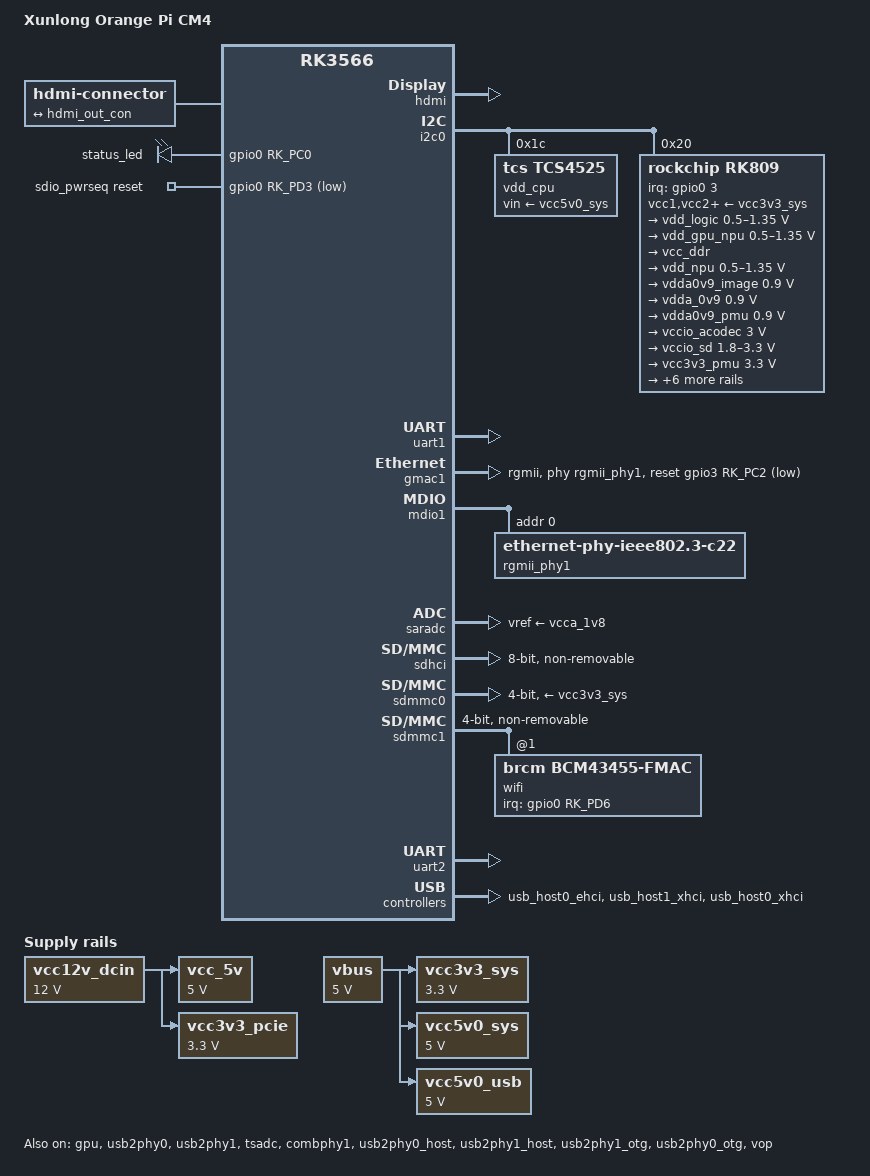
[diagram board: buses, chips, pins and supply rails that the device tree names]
// SPDX-License-Identifier: (GPL-2.0+ OR MIT)
/*
 * Copyright (c) 2022 Radxa Limited
 * Copyright (c) 2022 Amarula Solutions(India)
 */

/dts-v1/;
#include <dt-bindings/gpio/gpio.h>
#include <dt-bindings/leds/common.h>
#include <dt-bindings/soc/rockchip,vop2.h>
#include "rk3566.dtsi"

/ {
	model = "Xunlong Orange Pi CM4";
	compatible = "xunlong,orangepi-cm4", "rockchip,rk3566";

	aliases {
		mmc0 = &sdhci;
		mmc1 = &sdmmc0;
		mmc2 = &sdmmc1;
		mmc3 = &sdmmc2;
	};

	chosen: chosen {
		stdout-path = "serial2:1500000n8";
	};

	hdmi-con {
		compatible = "hdmi-connector";
		type = "a";

		port {
			hdmi_con_in: endpoint {
				remote-endpoint = <&hdmi_out_con>;
			};
		};
	};

	leds {
		compatible = "gpio-leds";
		pinctrl-names = "default";
		pinctrl-0 =<&leds_gpio>;

		led@1 {
			gpios = <&gpio0 RK_PC0 GPIO_ACTIVE_HIGH>;
			label = "status_led";
			linux,default-trigger = "heartbeat";
		};
	};

	/* labeled +12v in schematic */
	vcc12v_dcin: vcc12v-dcin-regulator {
		compatible = "regulator-fixed";
		regulator-name = "vcc12v_dcin";
		regulator-always-on;
		regulator-boot-on;
		regulator-min-microvolt = <12000000>;
		regulator-max-microvolt = <12000000>;
	};

	/* labeled +5v in schematic */
	vcc_5v: vcc-5v-regulator {
		compatible = "regulator-fixed";
		regulator-name = "vcc_5v";
		regulator-always-on;
		regulator-boot-on;
		regulator-min-microvolt = <5000000>;
		regulator-max-microvolt = <5000000>;
		vin-supply = <&vcc12v_dcin>;
	};

	vbus: vbus {
		compatible = "regulator-fixed";
		regulator-name = "vbus";
		regulator-always-on;
		regulator-boot-on;
		regulator-min-microvolt = <5000000>;
		regulator-max-microvolt = <5000000>;
	};

	/* labeled +3.3v For PCIe only in schematic */
	vcc3v3_pcie: vcc3v3-pcie-regulator {
		compatible = "regulator-fixed";
		regulator-name = "vcc3v3_pcie";
		regulator-always-on;
		regulator-boot-on;
		regulator-min-microvolt = <3300000>;
		regulator-max-microvolt = <3300000>;
		vin-supply = <&vcc12v_dcin>;
	};

	hdmi_sound: hdmi-sound {
		compatible = "simple-audio-card";
		simple-audio-card,format = "i2s";
		simple-audio-card,mclk-fs = <128>;
		simple-audio-card,name = "rockchip,hdmi";
		status = "disabled";

		simple-audio-card,cpu {
				sound-dai = <&i2s0_8ch>;
		};
		simple-audio-card,codec {
				sound-dai = <&hdmi>;
		};
	};

	vcc3v3_sys: vcc3v3-sys {
		compatible = "regulator-fixed";
		regulator-name = "vcc3v3_sys";
		regulator-always-on;
		regulator-boot-on;
		regulator-min-microvolt = <3300000>;
		regulator-max-microvolt = <3300000>;
		vin-supply = <&vbus>;
	};

	vcc5v0_sys: vcc5v0-sys {
		compatible = "regulator-fixed";
		regulator-name = "vcc5v0_sys";
		regulator-always-on;
		regulator-boot-on;
		regulator-min-microvolt = <5000000>;
		regulator-max-microvolt = <5000000>;
		vin-supply = <&vbus>;
	};

	vcc5v0_usb: vcc5v0-usb {
		compatible = "regulator-fixed";
		regulator-name = "vcc5v0_usb";
		regulator-always-on;
		regulator-boot-on;
		regulator-min-microvolt = <5000000>;
		regulator-max-microvolt = <5000000>;
		vin-supply = <&vbus>;
	};

	test-power {
		status = "okay";
	};

	sdio_pwrseq: sdio-pwrseq {
		compatible = "mmc-pwrseq-simple";
		clocks = <&rk809 1>;
		clock-names = "ext_clock";
		pinctrl-names = "default";
		pinctrl-0 = <&wifi_reg_on_h>;
		reset-gpios = <&gpio0 RK_PD3 GPIO_ACTIVE_LOW>;
	};
};

&cpu0 {
	cpu-supply = <&vdd_cpu>;
};

&cpu1 {
	cpu-supply = <&vdd_cpu>;
};

&cpu2 {
	cpu-supply = <&vdd_cpu>;
};

&cpu3 {
	cpu-supply = <&vdd_cpu>;
};

&gpu {
	mali-supply = <&vdd_gpu_npu>;
	status = "okay";
};

&hdmi {
	status = "okay";
	rockchip,phy-table =
		<92812500  0x8009 0x0000 0x0270>,
		<165000000 0x800b 0x0000 0x026d>,
		<185625000 0x800b 0x0000 0x01ed>,
		<297000000 0x800b 0x0000 0x01ad>,
		<594000000 0x8029 0x0000 0x0088>,
		<000000000 0x0000 0x0000 0x0000>;
};

&hdmi_sound {
	status = "okay";
};

&i2c0 {
	status = "okay";

	vdd_cpu: regulator@1c {
		compatible = "tcs,tcs4525";
		reg = <0x1c>;
		fcs,suspend-voltage-selector = <1>;
		regulator-name = "vdd_cpu";
		regulator-always-on;
		regulator-boot-on;
		regulator-min-microvolt = <712500>;
		regulator-max-microvolt = <1390000>;
		regulator-ramp-delay = <2300>;
		vin-supply = <&vcc5v0_sys>;

		regulator-state-mem {
			regulator-off-in-suspend;
		};
	};

	rk809: pmic@20 {
		compatible = "rockchip,rk809";
		reg = <0x20>;
		interrupt-parent = <&gpio0>;
		interrupts = <3 IRQ_TYPE_LEVEL_LOW>;

		pinctrl-names = "default", "pmic-sleep",
				"pmic-power-off", "pmic-reset";
		pinctrl-0 = <&pmic_int>;
		pinctrl-1 = <&soc_slppin_slp>, <&rk817_slppin_slp>;
		pinctrl-2 = <&soc_slppin_gpio>, <&rk817_slppin_pwrdn>;
		pinctrl-3 = <&soc_slppin_gpio>, <&rk817_slppin_rst>;

		rockchip,system-power-controller;
		wakeup-source;
		#clock-cells = <1>;
		clock-output-names = "rk808-clkout1", "rk808-clkout2";
		//fb-inner-reg-idxs = <2>;
		/* 1: rst regs (default in codes), 0: rst the pmic */
		pmic-reset-func = <0>;
		/* not save the PMIC_POWER_EN register in uboot */
		not-save-power-en = <1>;

		vcc1-supply = <&vcc3v3_sys>;
		vcc2-supply = <&vcc3v3_sys>;
		vcc3-supply = <&vcc3v3_sys>;
		vcc4-supply = <&vcc3v3_sys>;
		vcc5-supply = <&vcc3v3_sys>;
		vcc6-supply = <&vcc3v3_sys>;
		vcc7-supply = <&vcc3v3_sys>;
		vcc8-supply = <&vcc3v3_sys>;
		vcc9-supply = <&vcc3v3_sys>;

		pwrkey {
			status = "okay";
		};

		pinctrl_rk8xx: pinctrl_rk8xx {
			gpio-controller;
			#gpio-cells = <2>;

			rk817_slppin_null: rk817_slppin_null {
				pins = "gpio_slp";
				function = "pin_fun0";
			};

			rk817_slppin_slp: rk817_slppin_slp {
				pins = "gpio_slp";
				function = "pin_fun1";
			};

			rk817_slppin_pwrdn: rk817_slppin_pwrdn {
				pins = "gpio_slp";
				function = "pin_fun2";
			};

			rk817_slppin_rst: rk817_slppin_rst {
				pins = "gpio_slp";
				function = "pin_fun3";
			};
		};

		regulators {
			vdd_logic: DCDC_REG1 {
				regulator-name = "vdd_logic";
				regulator-always-on;
				regulator-boot-on;
				regulator-initial-mode = <0x2>;
				regulator-min-microvolt = <500000>;
				regulator-max-microvolt = <1350000>;
				regulator-init-microvolt = <900000>;
				regulator-ramp-delay = <6001>;
				regulator-state-mem {
					regulator-off-in-suspend;
				};
			};

			vdd_gpu_npu: DCDC_REG2 {
				regulator-name = "vdd_gpu_npu";
				regulator-always-on;
				regulator-boot-on;
				regulator-initial-mode = <0x2>;
				regulator-min-microvolt = <500000>;
				regulator-max-microvolt = <1350000>;
				regulator-init-microvolt = <900000>;
				regulator-ramp-delay = <6001>;
				regulator-state-mem {
					regulator-off-in-suspend;
				};
			};

			vcc_ddr: DCDC_REG3 {
				regulator-name = "vcc_ddr";
				regulator-always-on;
				regulator-boot-on;
				regulator-initial-mode = <0x2>;
				regulator-state-mem {
					regulator-on-in-suspend;
				};
			};

			vdd_npu: DCDC_REG4 {
				regulator-name = "vdd_npu";
				regulator-always-on;
				regulator-boot-on;
				regulator-initial-mode = <0x2>;
				regulator-min-microvolt = <500000>;
				regulator-max-microvolt = <1350000>;
				regulator-init-microvolt = <900000>;
				regulator-state-mem {
					regulator-off-in-suspend;
				};
			};

			vdda0v9_image: LDO_REG1 {
				regulator-name = "vdda0v9_image";
				regulator-always-on;
				regulator-boot-on;
				regulator-min-microvolt = <900000>;
				regulator-max-microvolt = <900000>;
				regulator-state-mem {
					regulator-off-in-suspend;
				};
			};

			vdda_0v9: LDO_REG2 {
				regulator-name = "vdda_0v9";
				regulator-always-on;
				regulator-boot-on;
				regulator-min-microvolt = <900000>;
				regulator-max-microvolt = <900000>;
				regulator-state-mem {
					regulator-off-in-suspend;
				};
			};

			vdda0v9_pmu: LDO_REG3 {
				regulator-name = "vdda0v9_pmu";
				regulator-always-on;
				regulator-boot-on;
				regulator-min-microvolt = <900000>;
				regulator-max-microvolt = <900000>;
				regulator-state-mem {
					regulator-on-in-suspend;
					regulator-suspend-microvolt = <900000>;
				};
			};

			vccio_acodec: LDO_REG4 {
				regulator-name = "vccio_acodec";
				regulator-always-on;
				regulator-boot-on;
				regulator-min-microvolt = <3000000>;
				regulator-max-microvolt = <3000000>;
				regulator-state-mem {
					regulator-off-in-suspend;
				};
			};

			vccio_sd: LDO_REG5 {
				regulator-name = "vccio_sd";
				regulator-always-on;
				regulator-boot-on;
				regulator-min-microvolt = <1800000>;
				regulator-max-microvolt = <3300000>;
				regulator-state-mem {
					regulator-off-in-suspend;
				};
			};

			vcc3v3_pmu: LDO_REG6 {
				regulator-name = "vcc3v3_pmu";
				regulator-always-on;
				regulator-boot-on;
				regulator-min-microvolt = <3300000>;
				regulator-max-microvolt = <3300000>;
				regulator-state-mem {
					regulator-on-in-suspend;
					regulator-suspend-microvolt = <3300000>;
				};
			};

			vcca_1v8: LDO_REG7 {
				regulator-name = "vcca_1v8";
				regulator-always-on;
				regulator-boot-on;
				regulator-min-microvolt = <1800000>;
				regulator-max-microvolt = <1800000>;
				regulator-state-mem {
					regulator-off-in-suspend;
				};
			};

			vcca1v8_pmu: LDO_REG8 {
				regulator-name = "vcca1v8_pmu";
				regulator-always-on;
				regulator-boot-on;
				regulator-min-microvolt = <1800000>;
				regulator-max-microvolt = <1800000>;
				regulator-state-mem {
					regulator-on-in-suspend;
					regulator-suspend-microvolt = <1800000>;
				};
			};

			vcca1v8_image: LDO_REG9 {
				regulator-always-on;
				regulator-boot-on;
				regulator-min-microvolt = <1800000>;
				regulator-max-microvolt = <1800000>;
				regulator-name = "vcca1v8_image";
				regulator-state-mem {
					regulator-off-in-suspend;
				};
			};

			vcc_1v8: DCDC_REG5 {
				regulator-always-on;
				regulator-boot-on;
				regulator-min-microvolt = <1800000>;
				regulator-max-microvolt = <1800000>;
				regulator-name = "vcc_1v8";
				regulator-state-mem {
					regulator-off-in-suspend;
				};
			};

			vcc_3v3: SWITCH_REG1 {
				regulator-always-on;
				regulator-boot-on;
				regulator-name = "vcc_3v3";
				regulator-state-mem {
					regulator-off-in-suspend;
				};
			};

			vcc3v3_sd: SWITCH_REG2 {
				regulator-always-on;
				regulator-boot-on;
				regulator-name = "vcc3v3_sd";
				regulator-state-mem {
					regulator-off-in-suspend;
				};
			};

		};
	};
};

&pinctrl {

	sdcard {
		sdmmc_pwren: sdmmc-pwren {
			rockchip,pins = <0 RK_PB0 RK_FUNC_GPIO &pcfg_pull_none>;
		};
	};

	accel {
		accel_irq_gpio: accel_irq_gpio {
			rockchip,pins = <3 RK_PC1 RK_FUNC_GPIO &pcfg_pull_none>;
		};
	};

	pmic {
		pmic_int: pmic_int {
			rockchip,pins = <0 RK_PA3 RK_FUNC_GPIO &pcfg_pull_up>;
		};

		soc_slppin_gpio: soc_slppin_gpio {
			rockchip,pins = <0 RK_PA2 RK_FUNC_GPIO &pcfg_output_low>;
		};

		soc_slppin_slp: soc_slppin_slp {
			rockchip,pins = <0 RK_PA2 1 &pcfg_pull_none>;
		};

		soc_slppin_rst: soc_slppin_rst {
			rockchip,pins = <0 RK_PA2 2 &pcfg_pull_none>;
		};
	};

	usb {
		vcc5v0_host_en: vcc5v0-host-en {
			rockchip,pins = <0 RK_PA6 RK_FUNC_GPIO &pcfg_pull_none>;
		};

		vcc5v0_otg_en: vcc5v0-otg-en {
			rockchip,pins = <0 RK_PA5 RK_FUNC_GPIO &pcfg_pull_none>;
		};
	};

	work-led {
		leds_gpio: leds-gpio {
			rockchip,pins = <0 RK_PC0 RK_FUNC_GPIO &pcfg_pull_none>;
		};
	};

	headphone {
		hp_det: hp-det {
			rockchip,pins = <0 RK_PC4 RK_FUNC_GPIO &pcfg_pull_down>;
		};
	};

	edp {
		edp_hpd: edp-hpd {
			rockchip,pins = <0 RK_PA5 RK_FUNC_GPIO &pcfg_pull_none>;
		};

		bl_en: bl-en {
			rockchip,pins = <0 RK_PB0 RK_FUNC_GPIO &pcfg_output_high>;
		};
	};

	wifi {
		wifi_reg_on_h: wifi-reg-on-h {
			rockchip,pins = <0 RK_PD3 RK_FUNC_GPIO &pcfg_pull_none>;
		};

		wifi_host_wake_h: wifi-host-wake-h {
			rockchip,pins = <0 RK_PD6 RK_FUNC_GPIO &pcfg_pull_none>;
		};
	};
};

&pmu_io_domains {
	pmuio1-supply = <&vcc3v3_pmu>;
	pmuio2-supply = <&vcc3v3_pmu>;
	vccio1-supply = <&vcc_3v3>;
	vccio2-supply = <&vcc_1v8>;
	vccio3-supply = <&vccio_sd>;
	vccio4-supply = <&vcc_1v8>;
	vccio5-supply = <&vcc_3v3>;
	vccio6-supply = <&vcc_3v3>;
	vccio7-supply = <&vcc_3v3>;
	status = "okay";
};

&uart1 {
	pinctrl-names = "default";
	pinctrl-0 = <&uart1m0_ctsn &uart1m0_rtsn &uart1m0_xfer>;
	status = "okay";
};

&usb2phy0 {
	status = "okay";
};

&usb2phy1 {
	status = "okay";
};

&tsadc {
	rockchip,hw-tshut-mode = <1>;
	rockchip,hw-tshut-polarity = <0>;
	status = "okay";
};

&combphy1 {
	status = "okay";
};

&gmac1 {
	assigned-clocks = <&cru SCLK_GMAC1_RX_TX>, <&cru SCLK_GMAC1>;
	assigned-clock-parents = <&cru SCLK_GMAC1_RGMII_SPEED>, <&cru CLK_MAC1_2TOP>;
	assigned-clock-rates = <0>, <125000000>;
	clock_in_out = "input";
	phy-handle = <&rgmii_phy1>;
	phy-mode = "rgmii";
	pinctrl-names = "default";
	pinctrl-0 = <&gmac1m0_miim
		     &gmac1m0_tx_bus2
		     &gmac1m0_rx_bus2
		     &gmac1m0_rgmii_clk
		     &gmac1m0_clkinout
			 &gmac1m0_rgmii_bus>;
	snps,reset-gpio = <&gpio3 RK_PC2 GPIO_ACTIVE_LOW>;
	snps,reset-active-low;
	snps,reset-delays-us = <0 50000  200000>;
	tx_delay = <0x30>;
	rx_delay = <0x10>;
	status = "okay";
};

&hdmi {
	avdd-0v9-supply = <&vdda0v9_image>;
	avdd-1v8-supply = <&vcca1v8_image>;
	status = "okay";
};

&hdmi_in {
	hdmi_in_vp0: endpoint {
		remote-endpoint = <&vp0_out_hdmi>;
	};
};

&hdmi_out {
	hdmi_out_con: endpoint {
		remote-endpoint = <&hdmi_con_in>;
	};
};

&hdmi_sound {
	status = "okay";
};

&mdio1 {
	rgmii_phy1: ethernet-phy@0 {
		compatible="ethernet-phy-ieee802.3-c22";
		reg= <0x0>;
	};
};

// &sfc {
// 	status = "okay";

	// flash@0 {
	// 	compatible = "jedec,spi-nor";
	// 	reg = <0>;
	// 	spi-max-frequency = <100000000>;
	// 	spi-rx-bus-width = <4>;
	// 	spi-tx-bus-width = <1>;
	// };
// };

&saradc {
	vref-supply = <&vcca_1v8>;
	status = "okay";
};

&sdhci {
	bus-width = <8>;
	no-sdio;
	no-sd;
	non-removable;
	max-frequency = <200000000>;
	pinctrl-names = "default";
	pinctrl-0 = <&emmc_clk &emmc_cmd &emmc_bus8>;
	status = "okay";
};

&sdmmc0 {
	max-frequency = <150000000>;
	no-sdio;
	no-mmc;
	bus-width = <4>;
	cap-mmc-highspeed;
	cap-sd-highspeed;
	disable-wp;
	sd-uhs-sdr104;
	vmmc-supply = <&vcc3v3_sys>;
	vqmmc-supply = <&vccio_sd>;
	pinctrl-names = "default";
	pinctrl-0 = <&sdmmc0_bus4 &sdmmc0_clk &sdmmc0_cmd &sdmmc0_det>;
	status = "okay";
};

&sdmmc1 {
	max-frequency = <150000000>;
	no-sd;
	no-mmc;
	bus-width = <4>;
	disable-wp;
	cap-sd-highspeed;
	cap-sdio-irq;
	keep-power-in-suspend;
	mmc-pwrseq = <&sdio_pwrseq>;
	non-removable;
	pinctrl-names = "default";
	pinctrl-0 = <&sdmmc1_bus4 &sdmmc1_cmd &sdmmc1_clk>;
	sd-uhs-sdr104;
	status = "okay";

	wifi@1 {
		compatible = "brcm,bcm43455-fmac";
		reg = <1>;
		interrupt-parent = <&gpio0>;
		interrupts = <RK_PD6 GPIO_ACTIVE_HIGH>;
		interrupt-names = "host-wake";
		pinctrl-names = "default";
		pinctrl-0 = <&wifi_host_wake_h>;
	};
};

&uart2 {
	status = "okay";
};

&usb2phy0_host {
	phy-supply = <&vcc5v0_usb>;
	status = "okay";
};

&usb2phy1_host {
	status = "okay";
};

&usb2phy1_otg {
	status = "okay";
};

&usb_host0_ehci {
	status = "okay";
};

&usb_host1_xhci {
	status = "okay";
};

&usb2phy0_otg {
	status = "okay";
};

&usb_host0_xhci {
	status = "okay";
};

&vop {
	assigned-clocks = <&cru DCLK_VOP0>, <&cru DCLK_VOP1>;
	assigned-clock-parents = <&pmucru PLL_HPLL>, <&cru PLL_VPLL>;
	status = "okay";
};

&vop_mmu {
	status = "okay";
};

&vp0 {
	vp0_out_hdmi: endpoint@ROCKCHIP_VOP2_EP_HDMI0 {
		reg = <ROCKCHIP_VOP2_EP_HDMI0>;
		remote-endpoint = <&hdmi_in_vp0>;
	};
};
